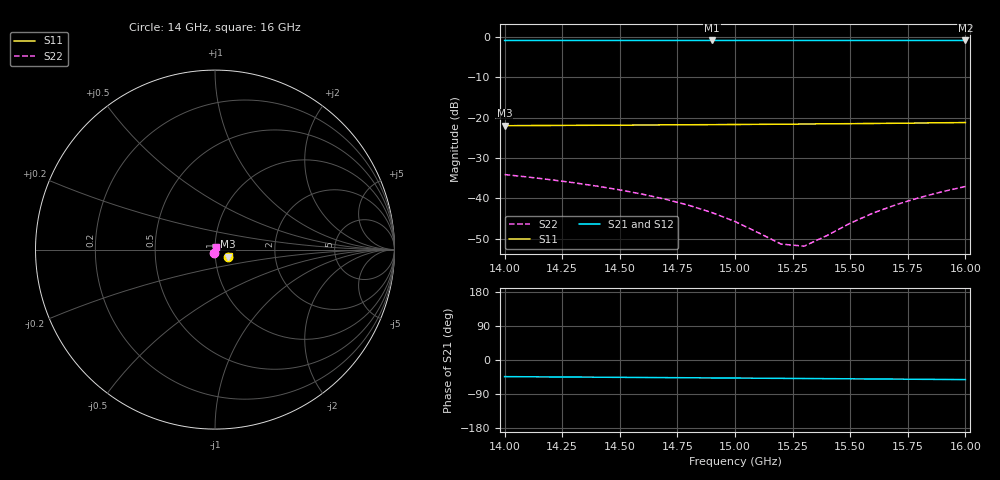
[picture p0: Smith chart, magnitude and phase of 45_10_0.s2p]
! Created Fri Dec 11 14:10:53 2020
# hz S ma R 50
! 2 Port Network Data from Sweep1.SP1.SP block
! freq  magS11  angS11  magS21  angS21  magS12  angS12  magS22  angS22
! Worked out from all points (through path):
!   21 points, 14 GHz to 16 GHz, reference 50 ohm
!   highest |S21| = -0.82 dB at 14.9 GHz (marker M1); lowest = -0.8 dB at 16 GHz (marker M2)
!   group delay of S21, straight-line fit = 10.8 ps
!   lowest |S11| = -22.0 dB at 14 GHz (marker M3), VSWR 1.17, Z = 57.3 - j4.44 ohm
!   |S11| at or under -10 dB: start of sweep to end of sweep
!   |S22| runs from -51.9 to -34.1 dB; largest |S21 - S12| = 0
1.4e10  0.07973 -28.9  0.91 -43.9  0.91 -43.9  0.01972 -103.5
1.41e10  0.07996 -28.8  0.91 -44.3  0.91 -44.3  0.01838 -105.0
1.42e10  0.08019 -28.7  0.91 -44.6  0.91 -44.6  0.01701 -106.6
1.43e10  0.08043 -28.6  0.9101 -45.0  0.9101 -45.0  0.01561 -108.4
1.44e10  0.08068 -28.5  0.9101 -45.4  0.9101 -45.4  0.01417 -110.3
1.45e10  0.08094 -28.4  0.9101 -45.7  0.9101 -45.7  0.01271 -112.4
1.46e10  0.08121 -28.2  0.9101 -46.1  0.9101 -46.1  0.01122 -114.9
1.47e10  0.08149 -28.1  0.9101 -46.5  0.9101 -46.5  0.00971 -117.9
1.48e10  0.08178 -27.9  0.9102 -46.9  0.9102 -46.9  0.008183 -121.7
1.49e10  0.08209 -27.7  0.9102 -47.3  0.9102 -47.3  0.006653 -126.9
1.5e10  0.08242 -27.5  0.9102 -47.7  0.9102 -47.7  0.005151 -134.8
1.51e10  0.08277 -27.2  0.9102 -48.0  0.9102 -48.0  0.003756 -148.2
1.52e10  0.08315 -27.0  0.9101 -48.4  0.9101 -48.4  0.002704 -173.8
1.53e10  0.08354 -26.7  0.9101 -48.8  0.9101 -48.8  0.002546 146.3
1.54e10  0.08397 -26.4  0.9101 -49.2  0.9101 -49.2  0.003459 115.4
1.55e10  0.08442 -26.1  0.91 -49.6  0.91 -49.6  0.004909 99.1
1.56e10  0.08491 -25.8  0.9099 -50.0  0.9099 -50.0  0.006574 90.0
1.57e10  0.08542 -25.5  0.9099 -50.5  0.9099 -50.5  0.008347 84.2
1.58e10  0.08597 -25.2  0.9098 -50.9  0.9098 -50.9  0.01019 80.1
1.59e10  0.08656 -24.8  0.9096 -51.3  0.9096 -51.3  0.01208 76.9
1.6e10  0.08719 -24.4  0.9095 -51.7  0.9095 -51.7  0.01402 74.3
